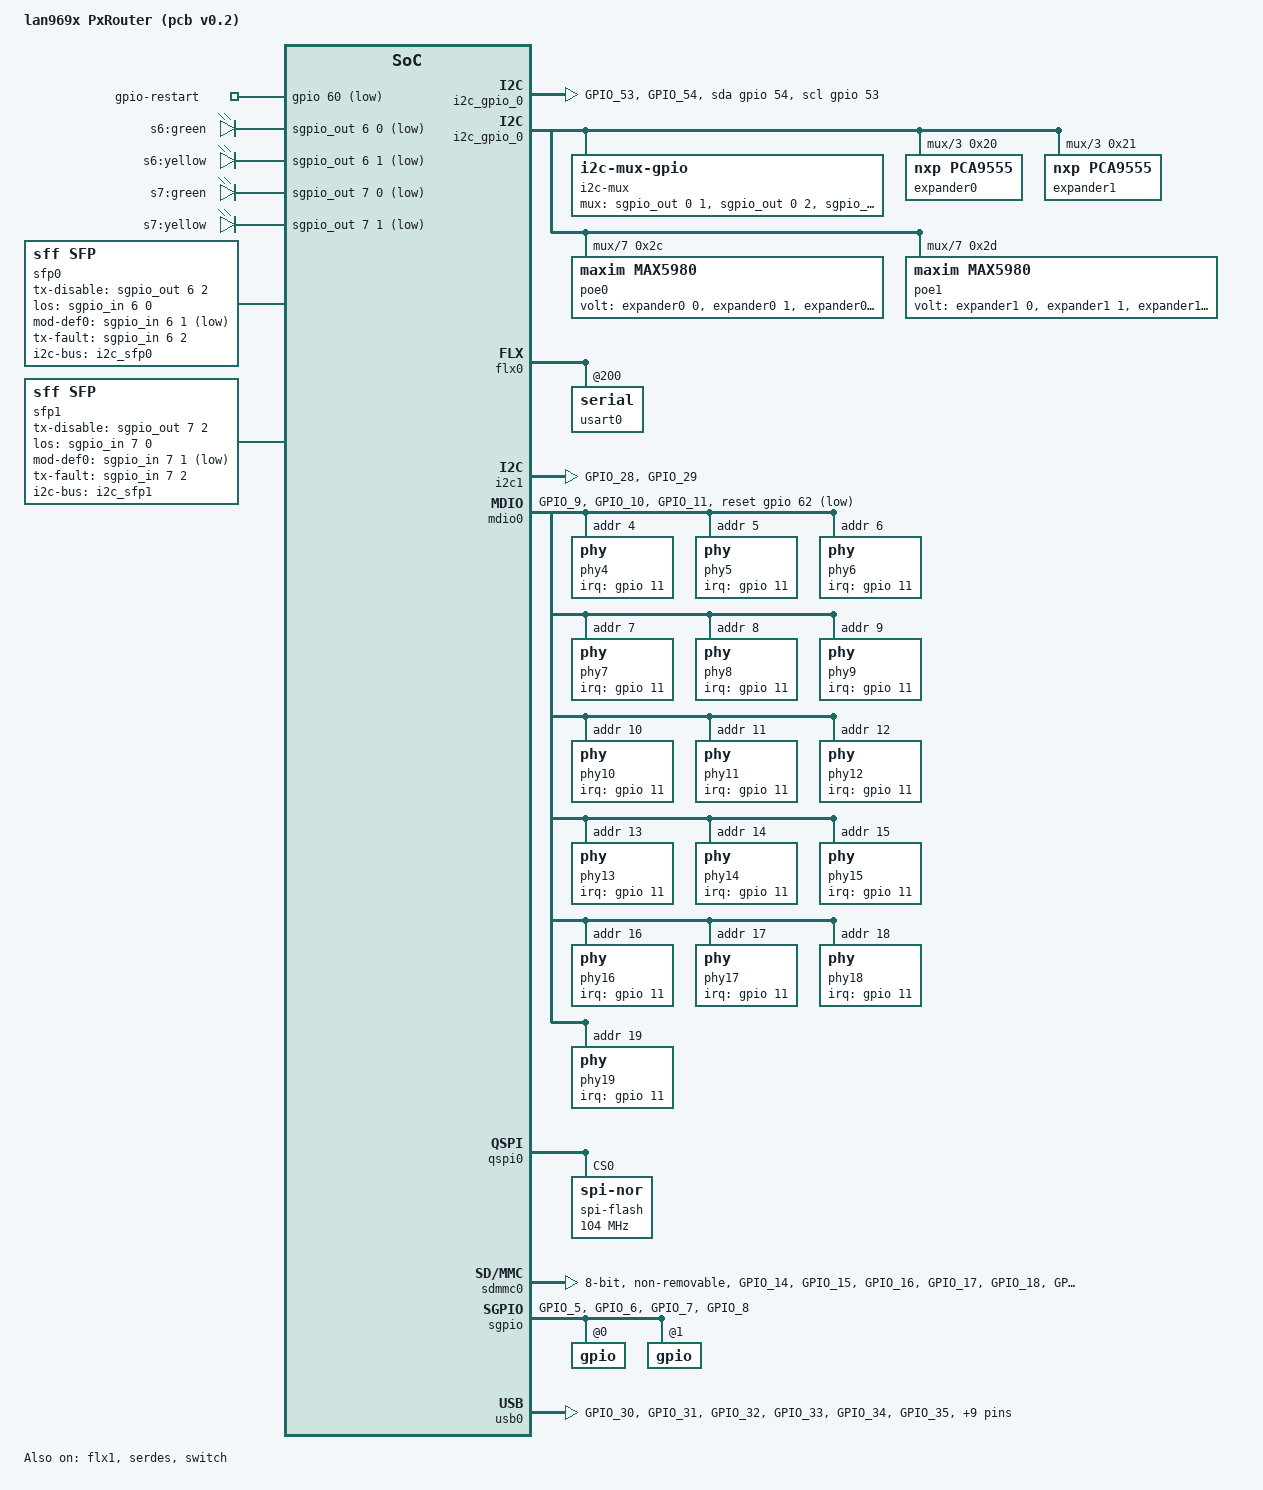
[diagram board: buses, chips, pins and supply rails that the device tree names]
// SPDX-License-Identifier: (GPL-2.0+ OR MIT)

/*
 * Copyright (c) 2022 Microchip Technology Inc. and its subsidiaries.
 */

/dts-v1/;

#include "lan969x.dtsi"

/ {
	model = "lan969x PxRouter (pcb v0.2)";
	aliases {
		serial0 = &usart0;
	};

	chosen {
		stdout-path = "serial0:115200n8";
	};

	gpio-restart {
		compatible = "gpio-restart";
		gpios = <&gpio 60 GPIO_ACTIVE_LOW>;
		open-source;
		priority = <200>;
	};

	i2c_gpio_0: i2c-gpio0 {
		compatible = "i2c-gpio";
		sda-gpios = <&gpio 54 (GPIO_ACTIVE_HIGH|GPIO_OPEN_DRAIN)>;
		scl-gpios = <&gpio 53 (GPIO_ACTIVE_HIGH|GPIO_OPEN_DRAIN)>;
		i2c-gpio,delay-us = <2>;	/* ~100 kHz */
		#address-cells = <1>;
		#size-cells = <0>;
		pinctrl-names = "default";
		pinctrl-0 = <&gpio_i2c_pins>;
		status = "okay";
	};

	i2c-mux {
		compatible = "i2c-mux-gpio";
		#address-cells = <1>;
		#size-cells = <0>;
		i2c-parent = <&i2c_gpio_0>;

		mux-gpios = <&sgpio_out 0 1 GPIO_ACTIVE_HIGH
			     &sgpio_out 0 2 GPIO_ACTIVE_HIGH
			     &sgpio_out 0 3 GPIO_ACTIVE_HIGH>;
		idle-state = <0x8>;

		i2c_sfp0: i2c-sfp0 {
			reg = <0x0>;
		};

		i2c_sfp1: i2c-sfp1 {
			reg = <0x1>;
		};

		i2c_2: i2c-2 {
			reg = <0x2>;
		};

		i2c_3: i2c-3 {
			reg = <0x3>;
		};

		i2c_4: i2c-4 {
			reg = <0x4>;
		};

		i2c_5: i2c-5 {
			reg = <0x5>;
		};

		i2c_6: i2c-6 {
			reg = <0x6>;
		};

		i2c_poe: i2c-poe {
			reg = <0x7>;
		};
	};

	leds {
		compatible = "gpio-leds";

		led-s6-green {
			label = "s6:green";
			gpios = <&sgpio_out 6 0 GPIO_ACTIVE_LOW>;
			default-state = "off";
		};

		led-s6-yellow {
			label = "s6:yellow";
			gpios = <&sgpio_out 6 1 GPIO_ACTIVE_LOW>;
			default-state = "off";
		};

		led-s7-green {
			label = "s7:green";
			gpios = <&sgpio_out 7 0 GPIO_ACTIVE_LOW>;
			default-state = "off";
		};

		led-s7-yellow {
			label = "s7:yellow";
			gpios = <&sgpio_out 7 1 GPIO_ACTIVE_LOW>;
			default-state = "off";
		};
	};

	sfp0: sfp0 {
		compatible = "sff,sfp";
		i2c-bus = <&i2c_sfp0>;
		tx-disable-gpios = <&sgpio_out 6 2 GPIO_ACTIVE_HIGH>;
		los-gpios = <&sgpio_in 6 0 GPIO_ACTIVE_HIGH>;
		mod-def0-gpios = <&sgpio_in 6 1 GPIO_ACTIVE_LOW>;
		tx-fault-gpios = <&sgpio_in 6 2 GPIO_ACTIVE_HIGH>;
	};

	sfp1: sfp1 {
		compatible = "sff,sfp";
		i2c-bus = <&i2c_sfp1>;
		tx-disable-gpios = <&sgpio_out 7 2 GPIO_ACTIVE_HIGH>;
		los-gpios = <&sgpio_in 7 0 GPIO_ACTIVE_HIGH>;
		mod-def0-gpios = <&sgpio_in 7 1 GPIO_ACTIVE_LOW>;
		tx-fault-gpios = <&sgpio_in 7 2 GPIO_ACTIVE_HIGH>;
	};
};

&i2c_3 {
	#address-cells = <1>;
	#size-cells = <0>;

	expander0: pca9555@20 {
		compatible = "nxp,pca9555";
		reg = <0x20>;

		gpio-controller;
		#gpio-cells = <2>;
	};

	expander1: pca9555@21 {
		compatible = "nxp,pca9555";
		reg = <0x21>;

		gpio-controller;
		#gpio-cells = <2>;
	};
};

&i2c_poe {
	#address-cells = <1>;
	#size-cells = <0>;

	poe0: max5980@2C {
        compatible = "maxim,max5980";
        reg = <0x2C>;

        volt-gpios = <&expander0 0 0>, <&expander0 1 0>,
                     <&expander0 2 0>, <&expander0 3 0>,
                     <&expander0 4 0>, <&expander0 5 0>,
                     <&expander0 6 0>, <&expander0 7 0>,
                     <&expander0 8 0>, <&expander0 9 0>,
                     <&expander0 10 0>, <&expander0 11 0>,
                     <&expander0 12 0>, <&expander0 13 0>,
                     <&expander0 14 0>, <&expander0 15 0>;

        port0@0 {
                enable = <1>;
                mode = "off";
                power = <1>;
				name-ref = <&switch 0>;
        };
        port1@1 {
                enable = <1>;
                mode = "off";
                power = <1>;
				name-ref = <&switch 1>;
        };
        port2@2 {
                enable = <1>;
                mode = "off";
                power = <1>;
				name-ref = <&switch 2>;
        };
        port3@3 {
                enable = <1>;
                mode = "off";
                power = <1>;
				name-ref = <&switch 3>;
        };
	};

	poe1: max5980@2D {
        compatible = "maxim,max5980";
        reg = <0x2D>;

        volt-gpios = <&expander1 0 0>, <&expander1 1 0>,
                     <&expander1 2 0>, <&expander1 3 0>,
                     <&expander1 4 0>, <&expander1 5 0>,
                     <&expander1 6 0>, <&expander1 7 0>,
                     <&expander1 8 0>, <&expander1 9 0>,
                     <&expander1 10 0>, <&expander1 11 0>,
                     <&expander1 12 0>, <&expander1 13 0>,
                     <&expander1 14 0>, <&expander1 15 0>;

        port0@0 {
                enable = <1>;
                mode = "off";
                power = <1>;
                name-ref = <&switch 4>;
        };
        port1@1 {
                enable = <1>;
                mode = "off";
                power = <1>;
                name-ref = <&switch 5>;
        };
        port2@2 {
                enable = <1>;
                mode = "off";
                power = <1>;
                name-ref = <&switch 6>;
        };
        port3@3 {
                enable = <1>;
                mode = "off";
                power = <1>;
                name-ref = <&switch 7>;
        };
	};
};

&flx0 {
	atmel,flexcom-mode = <ATMEL_FLEXCOM_MODE_USART>;
	status = "okay";

	usart0: serial@200 {
		pinctrl-0 = <&fc0_pins>;
		pinctrl-names = "default";
		status = "okay";
	};
};

/*
&flx3 {
	atmel,flexcom-mode = <ATMEL_FLEXCOM_MODE_TWI>;
	status = "okay";

	i2c3: i2c@600 {
		pinctrl-0 = <&fc3_pins>;
		pinctrl-names = "default";
		i2c-analog-filter;
		i2c-digital-filter;
		i2c-digital-filter-width-ns = <35>;
		i2c-sda-hold-time-ns = <1500>;
		status = "okay";
	};
};
*/

&flx1 {
	atmel,flexcom-mode = <ATMEL_FLEXCOM_MODE_TWI>;
	status = "okay";

	i2c1: i2c@600 {
		pinctrl-0 = <&fc1_pins>;
		pinctrl-names = "default";
		i2c-analog-filter;
		i2c-digital-filter;
		i2c-digital-filter-width-ns = <35>;
		i2c-sda-hold-time-ns = <1500>;
		status = "okay";
	};
};

&gpio {
	gpio_i2c_pins: gpio-i2c-pins {
		pins = "GPIO_53", "GPIO_54";
		function = "gpio";
	};

	emmc_sd_pins: emmc-sd-pins {
		/* eMMC_SD - CMD, CLK, D0, D1, D2, D3, D4, D5, D6, D7, RSTN */
		pins = "GPIO_14", "GPIO_15", "GPIO_16", "GPIO_17",
		       "GPIO_18", "GPIO_19", "GPIO_20", "GPIO_21",
		       "GPIO_22", "GPIO_23", "GPIO_24";
		function = "emmc_sd";
	};

	fan_pins: fan-pins {
		pins = "GPIO_25", "GPIO_26";
		function = "fan";
	};

	fc0_pins: fc0-pins {
		pins = "GPIO_3", "GPIO_4";
		function = "fc";
	};
/*
	fc3_pins: fc3-pins {
		pins = "GPIO_55", "GPIO_56";
		function = "fc";
	};
*/
	fc1_pins: fc1-pins {
		pins = "GPIO_28", "GPIO_29";
		function = "fc";
	};

	mdio_pins: mdio-pins {
		pins = "GPIO_9", "GPIO_10";
		function = "miim";
	};

	mdio_irq_pins: mdio-irq-pins {
		pins = "GPIO_11";
		function = "miim_irq";
	};

	sgpio_pins: sgpio-pins {
		/* SCK, D0, D1, LD */
		pins = "GPIO_5", "GPIO_6", "GPIO_7", "GPIO_8";
		function = "sgpio_a";
	};

	usb_ulpi_pins: usb-ulpi-pins {
		pins = "GPIO_30", "GPIO_31", "GPIO_32", "GPIO_33",
		"GPIO_34", "GPIO_35", "GPIO_36", "GPIO_37",
		"GPIO_38", "GPIO_39", "GPIO_40", "GPIO_41";
		function = "usb_ulpi";
	};

	usb_rst_pins: usb-rst-pins {
		pins = "GPIO_12";
		function = "usb2phy_rst";
	};

	usb_over_pins: usb-over-pins {
		pins = "GPIO_13";
		function = "usb_over_detect";
	};

	usb_power_pins: usb-power-pins {
		pins = "GPIO_1";
		function = "usb_power";
	};
};

&hwmon {
	pinctrl-0 = <&fan_pins>;
	pinctrl-names = "default";
};

&mdio0 {
	pinctrl-0 = <&mdio_pins>, <&mdio_irq_pins>;
	pinctrl-names = "default";
	reset-gpios = <&gpio 62 GPIO_ACTIVE_LOW>;
	status = "okay";

	phy4: phy@4 {
		reg = <4>;
		interrupts = <11 IRQ_TYPE_LEVEL_LOW>;
		interrupt-parent = <&gpio>;
	};

	phy5: phy@5 {
		reg = <5>;
		interrupts = <11 IRQ_TYPE_LEVEL_LOW>;
		interrupt-parent = <&gpio>;
	};

	phy6: phy@6 {
		reg = <6>;
		interrupts = <11 IRQ_TYPE_LEVEL_LOW>;
		interrupt-parent = <&gpio>;
	};

	phy7: phy@7 {
		reg = <7>;
		interrupts = <11 IRQ_TYPE_LEVEL_LOW>;
		interrupt-parent = <&gpio>;
	};

	phy8: phy@8 {
		reg = <8>;
		interrupts = <11 IRQ_TYPE_LEVEL_LOW>;
		interrupt-parent = <&gpio>;
	};

	phy9: phy@9 {
		reg = <9>;
		interrupts = <11 IRQ_TYPE_LEVEL_LOW>;
		interrupt-parent = <&gpio>;
	};

	phy10: phy@10 {
		reg = <10>;
		interrupts = <11 IRQ_TYPE_LEVEL_LOW>;
		interrupt-parent = <&gpio>;
	};

	phy11: phy@11 {
		reg = <11>;
		interrupts = <11 IRQ_TYPE_LEVEL_LOW>;
		interrupt-parent = <&gpio>;
	};

	phy12: phy@12 {
		reg = <12>;
		interrupts = <11 IRQ_TYPE_LEVEL_LOW>;
		interrupt-parent = <&gpio>;
	};

	phy13: phy@13 {
		reg = <13>;
		interrupts = <11 IRQ_TYPE_LEVEL_LOW>;
		interrupt-parent = <&gpio>;
	};

	phy14: phy@14 {
		reg = <14>;
		interrupts = <11 IRQ_TYPE_LEVEL_LOW>;
		interrupt-parent = <&gpio>;
	};

	phy15: phy@15 {
		reg = <15>;
		interrupts = <11 IRQ_TYPE_LEVEL_LOW>;
		interrupt-parent = <&gpio>;
	};

	phy16: phy@16 {
		reg = <16>;
		interrupts = <11 IRQ_TYPE_LEVEL_LOW>;
		interrupt-parent = <&gpio>;
	};

	phy17: phy@17 {
		reg = <17>;
		interrupts = <11 IRQ_TYPE_LEVEL_LOW>;
		interrupt-parent = <&gpio>;
	};

	phy18: phy@18 {
		reg = <18>;
		interrupts = <11 IRQ_TYPE_LEVEL_LOW>;
		interrupt-parent = <&gpio>;
	};

	phy19: phy@19 {
		reg = <19>;
		interrupts = <11 IRQ_TYPE_LEVEL_LOW>;
		interrupt-parent = <&gpio>;
	};
};

&qspi0 {
	status = "okay";

	spi-flash@0 {
		compatible = "jedec,spi-nor";
		reg = <0>;
		spi-max-frequency = <104000000>;
		#address-cells = <1>;
		#size-cells = <1>;
		spi-tx-bus-width = <1>;
		spi-rx-bus-width = <4>;
		m25p,fast-read;
	};
};

&serdes {
	status = "okay";
};

&sdmmc0 {
	pinctrl-0 = <&emmc_sd_pins>;
	pinctrl-names = "default";
	max-frequency = <100000000>;
	bus-width = <8>;
	non-removable;
	no-1-8-v;
	disable-wp;
	status = "okay";
};

&sgpio {
	pinctrl-0 = <&sgpio_pins>;
	pinctrl-names = "default";

	microchip,sgpio-port-ranges = <0 1>, <6 9>;
	status = "okay";

	gpio@0 {
		ngpios = <128>;
	};
	gpio@1 {
		ngpios = <128>;
	};
};

&switch {
	status = "okay";
	mac-address = [ 08 00 3B 00 00 00 ];

	ethernet-ports {
		#address-cells = <1>;
		#size-cells = <0>;

		port0: port@0 {
			reg = <0>;
			microchip,bandwidth = <1000>;
			phy-handle = <&phy8>;
			phy-mode = "qsgmii";
			port-name = "eth14";
			phys = <&serdes 0>;
			max-frame-size = <13942>;
		};

		port1: port@1 {
			reg = <1>;
			microchip,bandwidth = <1000>;
			phy-handle = <&phy9>;
			phy-mode = "qsgmii";
			port-name = "eth13";
			phys = <&serdes 0>;
			max-frame-size = <13942>;
		};

		port2: port@2 {
			reg = <2>;
			microchip,bandwidth = <1000>;
			phy-handle = <&phy10>;
			phy-mode = "qsgmii";
			port-name = "eth16";
			phys = <&serdes 0>;
			max-frame-size = <13942>;
		};

		port3: port@3 {
			reg = <3>;
			microchip,bandwidth = <1000>;
			phy-handle = <&phy11>;
			phy-mode = "qsgmii";
			port-name = "eth15";
			phys = <&serdes 0>;
			max-frame-size = <13942>;
		};

		port4: port@4 {
			reg = <4>;
			microchip,bandwidth = <1000>;
			phy-handle = <&phy4>;
			phy-mode = "qsgmii";
			port-name = "eth10";
			phys = <&serdes 1>;
			max-frame-size = <13942>;
		};

		port5: port@5 {
			reg = <5>;
			microchip,bandwidth = <1000>;
			phy-handle = <&phy5>;
			phy-mode = "qsgmii";
			port-name = "eth9";
			phys = <&serdes 1>;
			max-frame-size = <13942>;
		};

		port6: port@6 {
			reg = <6>;
			microchip,bandwidth = <1000>;
			phy-handle = <&phy6>;
			phy-mode = "qsgmii";
			port-name = "eth12";
			phys = <&serdes 1>;
			max-frame-size = <13942>;
		};

		port7: port@7 {
			reg = <7>;
			microchip,bandwidth = <1000>;
			phy-handle = <&phy7>;
			phy-mode = "qsgmii";
			port-name = "eth11";
			phys = <&serdes 1>;
			max-frame-size = <13942>;
		};

		port8: port@8 {
			reg = <8>;
			microchip,bandwidth = <1000>;
			phy-handle = <&phy16>;
			phy-mode = "qsgmii";
			port-name = "eth6";
			phys = <&serdes 2>;
			max-frame-size = <13942>;
		};

		port9: port@9 {
			reg = <9>;
			microchip,bandwidth = <1000>;
			phy-handle = <&phy17>;
			phy-mode = "qsgmii";
			port-name = "eth5";
			phys = <&serdes 2>;
			max-frame-size = <13942>;
		};

		port10: port@10 {
			reg = <10>;
			microchip,bandwidth = <1000>;
			phy-handle = <&phy18>;
			phy-mode = "qsgmii";
			port-name = "eth8";
			phys = <&serdes 2>;
			max-frame-size = <13942>;
		};

		port11: port@11 {
			reg = <11>;
			microchip,bandwidth = <1000>;
			phy-handle = <&phy19>;
			phy-mode = "qsgmii";
			port-name = "eth7";
			phys = <&serdes 2>;
			max-frame-size = <13942>;
		};

		port12: port@12 {
			reg = <12>;
			microchip,bandwidth = <1000>;
			phy-handle = <&phy12>;
			phy-mode = "qsgmii";
			port-name = "eth2";
			phys = <&serdes 3>;
			max-frame-size = <13942>;
		};

		port13: port@13 {
			reg = <13>;
			microchip,bandwidth = <1000>;
			phy-handle = <&phy13>;
			phy-mode = "qsgmii";
			port-name = "eth1";
			phys = <&serdes 3>;
			max-frame-size = <13942>;
		};

		port14: port@14 {
			reg = <14>;
			microchip,bandwidth = <1000>;
			phy-handle = <&phy14>;
			phy-mode = "qsgmii";
			port-name = "eth4";
			phys = <&serdes 3>;
			max-frame-size = <13942>;
		};

		port15: port@15 {
			reg = <15>;
			microchip,bandwidth = <1000>;
			phy-handle = <&phy15>;
			phy-mode = "qsgmii";
			port-name = "eth3";
			phys = <&serdes 3>;
			max-frame-size = <13942>;
		};

		port16: port@16 {
			reg = <16>;
			microchip,bandwidth = <10000>;
			phys = <&serdes 4>;
			phy-mode = "10gbase-r";
			port-name = "sfp1";
			sfp = <&sfp1>;
			microchip,sd-sgpio = <28>;
			managed = "in-band-status";
		};

		port17: port@17 {
			reg = <17>;
			microchip,bandwidth = <10000>;
			phys = <&serdes 5>;
			phy-mode = "10gbase-r";
			port-name = "sfp0";
			sfp = <&sfp0>;
			microchip,sd-sgpio = <24>;
			managed = "in-band-status";
		};
	};
};

&usb0 {
	status = "okay";
	pinctrl-0 = <&usb_ulpi_pins>, <&usb_rst_pins>, <&usb_over_pins>, <&usb_power_pins>;
	pinctrl-names = "default";
};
